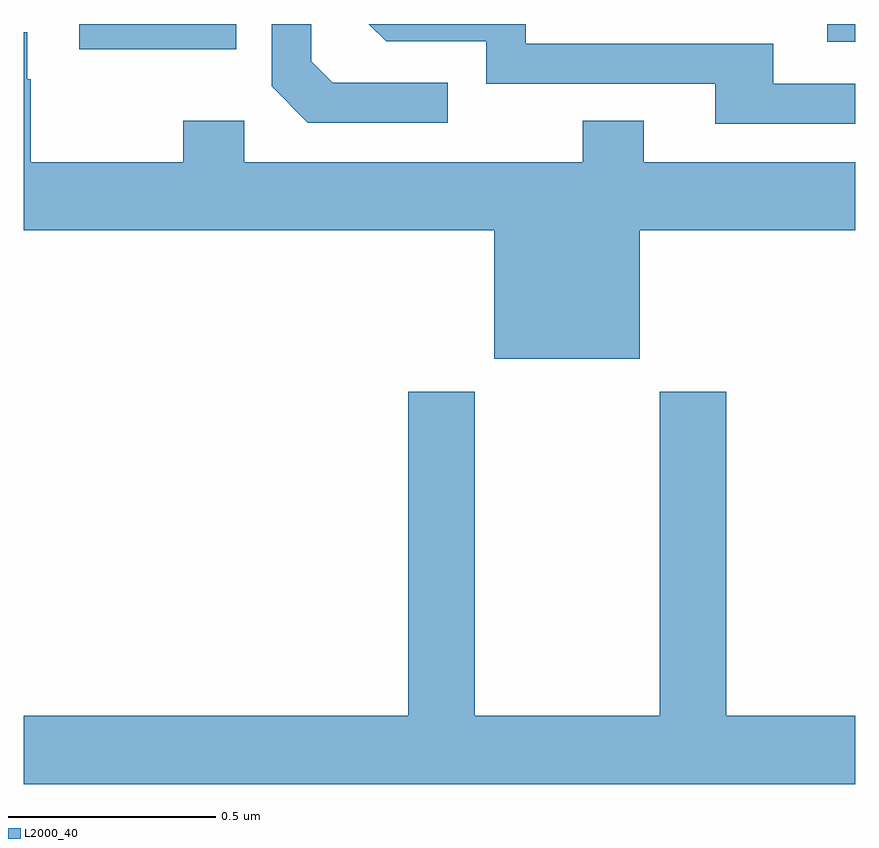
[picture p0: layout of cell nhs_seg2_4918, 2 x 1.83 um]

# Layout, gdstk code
import gdstk
lib = gdstk.Library(unit=1e-6, precision=1e-09)
def R(c, l, rs):  # rectangles x0, y0, x1, y1
    for r in rs: c.add(gdstk.rectangle(r[:2], r[2:], *l))
def P(c, l, *ps):  # polygons
    for p in ps: c.add(gdstk.Polygon(p, *l))
L2000_40 = (2000, 40)

nhs_seg2_4918 = lib.new_cell('nhs_seg2_4918')
R(nhs_seg2_4918, L2000_40, [(172.134,646.739,172.511,646.8), (173.933,646.757,174,646.8)])
P(nhs_seg2_4918, L2000_40, [(173.02,646.659),(172.743,646.659),(172.692,646.71),(172.692,646.8),(172.596,646.8),(172.596,646.65),(172.683,646.563),(173.02,646.563)],
  [(174,646.656),(173.803,646.656),(173.803,646.752),(173.208,646.752),(173.208,646.8),(172.83,646.8),(172.872,646.758),(173.112,646.758),(173.112,646.656),(173.663,646.656),(173.663,646.56),(174,646.56)],
  [(173.482,646.304),(174,646.304),(174,646.468),(173.491,646.468),(173.491,646.567),(173.344,646.567),(173.344,646.468),(172.53,646.468),(172.53,646.567),(172.384,646.567),(172.384,646.468),(172.017,646.468),(172.017,646.667),(172.009,646.667),(172.009,646.78),(172,646.78),(172,646.304),(173.132,646.304),(173.132,645.995),(173.482,645.995)],
  [(174,645.136),(173.69,645.136),(173.69,645.916),(173.53,645.916),(173.53,645.136),(173.085,645.136),(173.085,645.916),(172.925,645.916),(172.925,645.136),(172,645.136),(172,644.972),(174,644.972)])

lib.write_gds('nhs_seg2_4918.gds')
